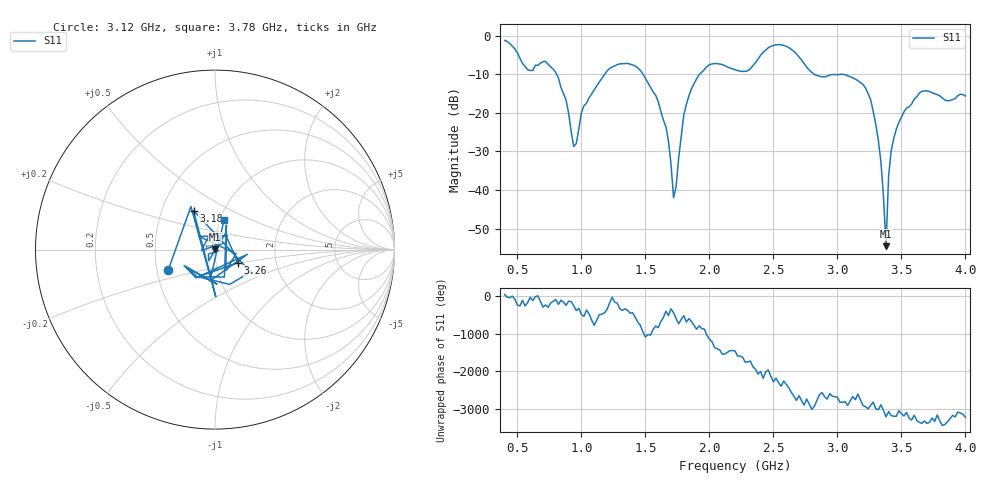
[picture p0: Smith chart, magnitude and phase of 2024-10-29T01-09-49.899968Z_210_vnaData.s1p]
!Created with skrf (http://scikit-rf.org).
# Hz S RI R 50.0
!freq ReS11 ImS11
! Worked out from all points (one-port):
!   181 points, 400 MHz to 4 GHz, reference 50 ohm
!   lowest |S11| = -54.6 dB at 3.38 GHz (marker M1), VSWR 1.00, Z = 50.2 + j0.0682 ohm
!   |S11| at or under -10 dB: 807.4 MHz to 1.182 GHz (374.1 MHz wide, 37.6 % of centre); 1.483 GHz to 1.921 GHz (438.4 MHz wide, 25.8 % of centre); 3.048 GHz to end of sweep (the widest 3 of 4)
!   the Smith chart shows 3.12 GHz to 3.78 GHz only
!   S11 on the Smith chart (normalised r, x): 3.12 GHz: 0.57, -0.14; 3.18 GHz: 0.72, +0.33; 3.26 GHz: 1.28, -0.19; 3.78 GHz: 1.04, +0.36
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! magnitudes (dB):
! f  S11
! 400 MHz  -1.2
! 580 MHz  -8.8
! 720 MHz  -6.6
! 860 MHz  -15.0
! 940 MHz  -28.7
! 1.02 GHz  -18.1
! 1.3 GHz  -7.3
! 1.58 GHz  -15.4
! 1.68 GHz  -27.3
! 1.72 GHz  -42.0
! 1.76 GHz  -31.7
! 1.8 GHz  -20.5
! 1.92 GHz  -10.0
! 2.2 GHz  -8.8
! 2.5 GHz  -2.5
! 2.66 GHz  -4.0
! 2.82 GHz  -10.0
! 3.1 GHz  -10.6
! 3.12 GHz  -10.9
! 3.18 GHz  -12.1
! 3.26 GHz  -16.6
! 3.34 GHz  -32.7
! 3.38 GHz  -54.6
! 3.4 GHz  -36.4
! 3.42 GHz  -29.9
! 3.56 GHz  -18.4
! 3.78 GHz  -15.2
! 4 GHz  -15.6
